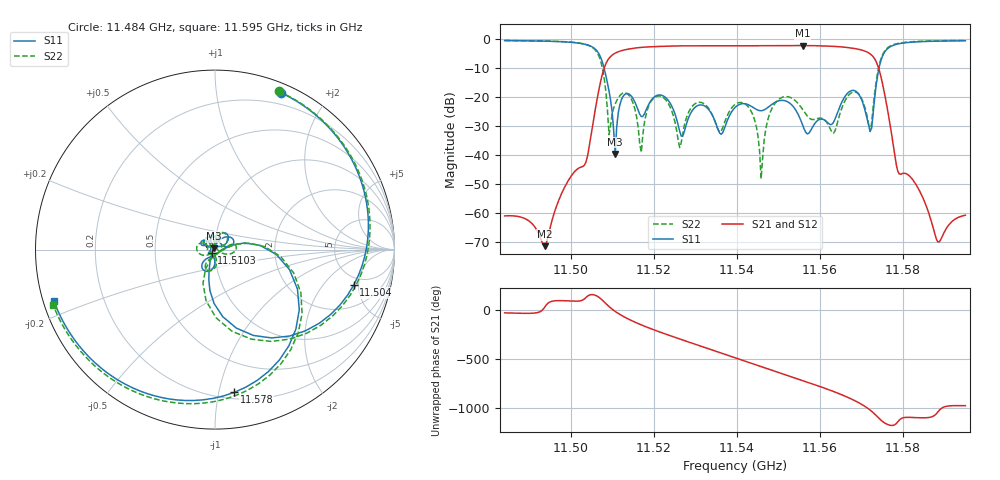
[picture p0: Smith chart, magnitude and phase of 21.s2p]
! Created with skrf 1.8.0 (http://scikit-rf.org).
# Hz S RI R 50.0
!freq ReS11 ImS11 ReS21 ImS21 ReS12 ImS12 ReS22 ImS22
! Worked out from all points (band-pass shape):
!   301 points, 11.484 GHz to 11.595 GHz, reference 50 ohm
!   highest |S21| = -2.17 dB at 11.5558 GHz (marker M1); lowest = -71.3 dB at 11.4936 GHz (marker M2)
!   |S21| within 3 dB of the highest: 11.5102 GHz to 11.5722 GHz (61.97 MHz wide, 0.537 % of centre)
!   lowest |S11| = -39.5 dB at 11.5106 GHz (marker M3), VSWR 1.02, Z = 49.2 + j0.702 ohm
!   |S11| at or under -10 dB: 11.508 GHz to 11.5742 GHz (66.22 MHz wide, 0.574 % of centre)
!   |S22| runs from -48.1 to -0.4 dB; largest |S21 - S12| = 0.0086
!   S11 on the Smith chart (normalised r, x): 11.484 GHz: 0.09, +1.50; 11.504 GHz: 4.02, -4.36; 11.5103 GHz: 0.96, -0.04; 11.578 GHz: 0.25, -1.11; 11.595 GHz: 0.03, -0.16
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1.1484e10  0.3668 0.8734  0.000824 -0.000376  0.000819 -0.000352  0.3538 0.8824
1.149362e10  0.6507 0.6621  0.000233 0.000142  0.000227 0.000145  0.6533 0.6647
1.15025e10  0.8441 0.00936  -0.00127 0.00619  -0.00135 0.00623  0.8462 -0.033
1.150398e10  0.773 -0.1973  -0.00814 0.00549  -0.00827 0.00551  0.753 -0.2543
1.151027e10  -0.0177 -0.0204  0.556 0.0136  0.5565 0.0116  0.0636 0.0146
1.151064e10  -0.00781 0.00713  0.5681 -0.0983  0.5681 -0.1004  0.074 0.0212
1.151249e10  0.0733 0.0716  0.339 -0.549  0.3377 -0.5504  0.1158 0.0222
1.151693e10  0.0373 0.0278  -0.6094 -0.3918  -0.6107 -0.3862  0.00615 0.00948
1.1521e10  0.0577 0.0928  -0.6215 0.4207  -0.6178 0.4204  0.0502 0.0926
1.152618e10  0.019 0.0176  0.2775 0.7167  0.2817 0.7132  0.00423 0.013
1.153062e10  -0.0168 0.0706  0.7677 0.0683  0.7629 0.0643  -0.02 0.0792
1.15395e10  -0.0606 0.0278  -0.4171 -0.6475  -0.4189 -0.6409  -0.0582 0.0477
1.154579e10  -0.0502 0.0305  -0.6479 0.4271  -0.6446 0.4278  -0.00256 0.00301
1.154875e10  -0.0743 0.0258  -0.1919 0.7517  -0.1854 0.7509  -0.064 -0.0318
1.155578e10  -0.0242 0.023  0.7761 0.0675  0.7703 0.0653  -0.0542 0.0302
1.1558e10  -0.0276 -0.00908  0.6903 -0.3553  0.6865 -0.355  -0.0412 0.00492
1.156688e10  -0.0299 -0.1187  -0.7082 -0.1057  -0.7072 -0.104  -0.00694 -0.1086
1.157206e10  0.00906 -0.0246  0.2576 0.497  0.2576 0.4945  0.0138 -0.0216
1.15765e10  0.3585 -0.6154  0.00149 -0.048  0.00138 -0.0488  0.3675 -0.6359
1.157798e10  0.1085 -0.7951  0.000491 -0.0101  0.000399 -0.0103  0.1142 -0.8135
1.158834e10  -0.7604 -0.5319  0.000242 0.000216  0.000248 0.000208  -0.7615 -0.5511
1.1595e10  -0.8971 -0.2874  -0.000282 0.000888  -0.000257 0.000885  -0.9018 -0.3082
